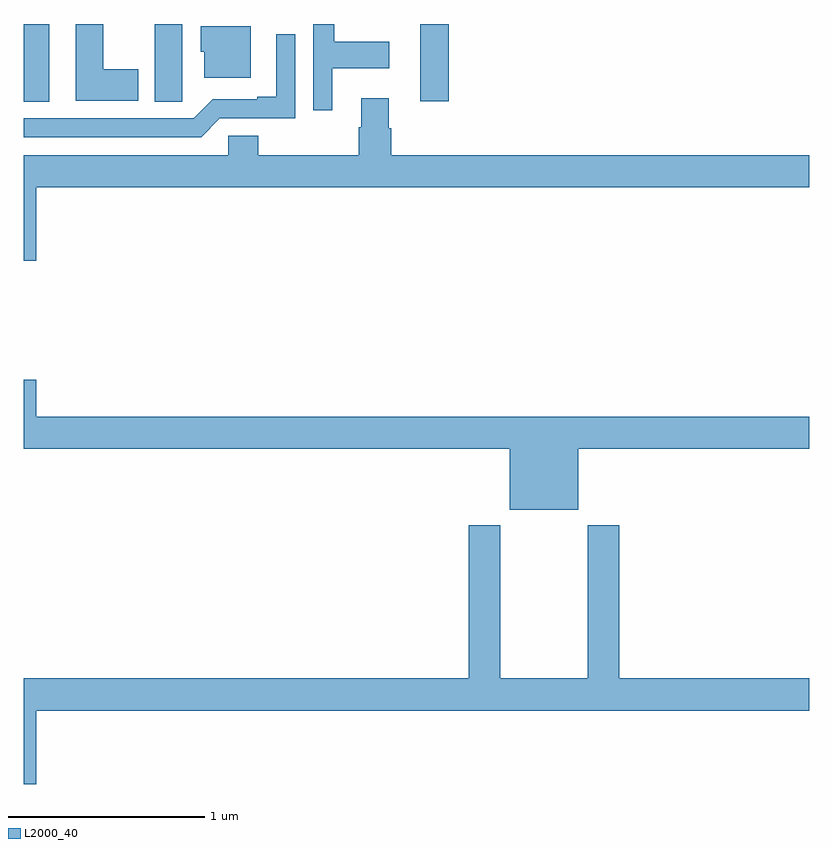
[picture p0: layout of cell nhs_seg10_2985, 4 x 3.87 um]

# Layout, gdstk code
import gdstk
lib = gdstk.Library(unit=1e-6, precision=1e-09)
def R(c, l, rs):  # rectangles x0, y0, x1, y1
    for r in rs: c.add(gdstk.rectangle(r[:2], r[2:], *l))
def P(c, l, *ps):  # polygons
    for p in ps: c.add(gdstk.Polygon(p, *l))
L2000_40 = (2000, 40)

nhs_seg10_2985 = lib.new_cell('nhs_seg10_2985')
R(nhs_seg10_2985, L2000_40, [(273,1282.105,273.13,1282.5), (275.018,1282.107,275.165,1282.5)])
P(nhs_seg10_2985, L2000_40, [(273.807,1282.216),(273.808,1282.216),(273.808,1282.5),(273.668,1282.5),(273.668,1282.105),(273.807,1282.105)],
  [(274.57,1282.274),(274.861,1282.274),(274.861,1282.409),(274.582,1282.409),(274.582,1282.5),(274.473,1282.5),(274.473,1282.062),(274.57,1282.062)],
  [(273.583,1282.269),(273.406,1282.269),(273.406,1282.5),(273.266,1282.5),(273.266,1282.109),(273.583,1282.109)],
  [(274.156,1282.489),(273.902,1282.489),(273.902,1282.359),(273.92,1282.359),(273.92,1282.226),(274.156,1282.226)],
  [(273.999,1282.02),(274.383,1282.02),(274.383,1282.447),(274.286,1282.447),(274.286,1282.129),(274.19,1282.129),(274.19,1282.116),(273.963,1282.116),(273.867,1282.02),(273,1282.02),(273,1281.924),(273.903,1281.924)],
  [(273.064,1281.668),(277,1281.668),(277,1281.832),(274.871,1281.832),(274.871,1281.969),(274.858,1281.969),(274.858,1282.123),(274.718,1282.123),(274.718,1281.974),(274.706,1281.974),(274.706,1281.832),(274.193,1281.832),(274.193,1281.93),(274.041,1281.93),(274.041,1281.832),(273,1281.832),(273,1281.294),(273.064,1281.294)],
  [(275.824,1280.336),(277,1280.336),(277,1280.5),(273.064,1280.5),(273.064,1280.689),(273,1280.689),(273,1280.336),(275.474,1280.336),(275.474,1280.027),(275.824,1280.027)],
  [(273.064,1279.004),(277,1279.004),(277,1279.168),(276.032,1279.168),(276.032,1279.948),(275.872,1279.948),(275.872,1279.168),(275.427,1279.168),(275.427,1279.948),(275.267,1279.948),(275.267,1279.168),(273,1279.168),(273,1278.63),(273.064,1278.63)])

lib.write_gds('nhs_seg10_2985.gds')
